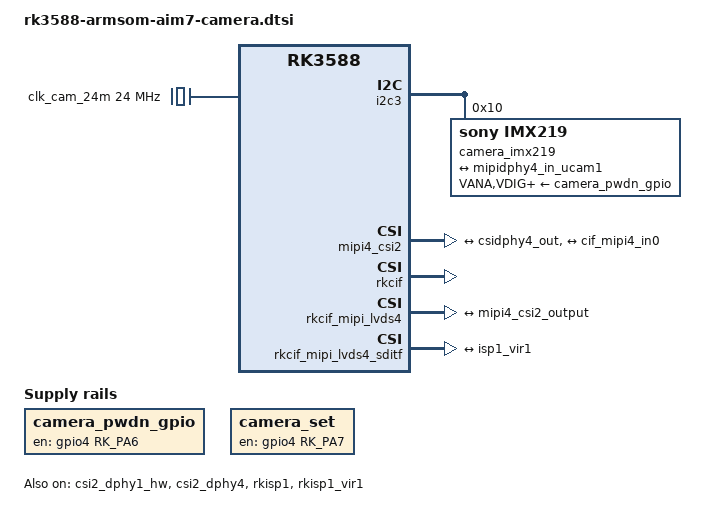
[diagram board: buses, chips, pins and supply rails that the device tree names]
// SPDX-License-Identifier: (GPL-2.0+ OR MIT)
/*
 * Copyright (c) 2022 Rockchip Electronics Co., Ltd.
 *
 */

// kernel/include/dt-bindings/clock/rk3588-cru.h
//  #define CLK_MIPI_CAMARAOUT_M0		255
// #define CLK_MIPI_CAMARAOUT_M1		256
// #define CLK_MIPI_CAMARAOUT_M2		257
// #define CLK_MIPI_CAMARAOUT_M3		258
// #define CLK_MIPI_CAMARAOUT_M4		259

/ {
	camera_pwdn_gpio: camera-pwdn-gpio {
		status = "okay";
		compatible = "regulator-fixed";
		regulator-name = "camera_pwdn_gpio";
		regulator-always-on;
		regulator-boot-on;
		enable-active-high;
		gpio = <&gpio4 RK_PA6 GPIO_ACTIVE_HIGH>;
		pinctrl-names = "default";
		pinctrl-0 = <&cam_pwdn_gpio>;
	};

    camera_set: camera-set {
		status = "okay";
		compatible = "regulator-fixed";
		regulator-name = "camera_set";
		regulator-always-on;
		regulator-boot-on;
		enable-active-high;
		gpio = <&gpio4 RK_PA7 GPIO_ACTIVE_HIGH>;
		pinctrl-names = "default";
		pinctrl-0 = <&cam_set>;
	};

	clk_cam_24m: external-camera-clock-24m {
		status = "okay";
		compatible = "fixed-clock";
		clock-frequency = <24000000>;
		clock-output-names = "clk_cam_24m";
		#clock-cells = <0>;
	};
};

&i2c3 {
	status = "okay";
	#address-cells = <1>;
    #size-cells = <0>;

	imx415: imx415@1a {
		status = "disabled";
		compatible = "sony,imx415";
		reg = <0x1a>;
		clocks = <&cru CLK_MIPI_CAMARAOUT_M3>;
		clock-names = "xvclk";
		pinctrl-names = "default";
		pinctrl-0 = <&mipim0_camera3_clk>;
		power-domains = <&power RK3588_PD_VI>;
		pwdn-gpios = <&gpio1 RK_PB0 GPIO_ACTIVE_HIGH>;
		reset-gpios = <&gpio4 RK_PA0 GPIO_ACTIVE_LOW>;
		rockchip,camera-module-index = <0>;
		rockchip,camera-module-facing = "back";
		rockchip,camera-module-name = "CMK-OT2022-PX1";
		rockchip,camera-module-lens-name = "IR0147-50IRC-8M-F20";
		port {
			imx415_out0: endpoint {
				remote-endpoint = <&mipidphy0_in_ucam0>;
				data-lanes = <1 2 3 4>;
			};
		};
	};

	camera_imx219: camera-imx219@10 {
		status = "okay";
		compatible = "sony,imx219";
		reg = <0x10>;
		clock-names = "xvclk";
		clocks = <&clk_cam_24m>;
        VANA-supply = <&camera_pwdn_gpio>;   /* 2.8v */
        VDIG-supply = <&camera_pwdn_gpio>;   /* 1.8v */
        VDDL-supply = <&camera_pwdn_gpio>;   /* 1.2v */

		rockchip,camera-module-index = <0>;
		rockchip,camera-module-facing = "back";
		rockchip,camera-module-name = "RADXA-CAMERA-8M";
		rockchip,camera-module-lens-name = "default";

		port {
			imx219_out0: endpoint {
				remote-endpoint = <&mipidphy4_in_ucam1>;
				data-lanes = <1 2>;
				clock-noncontinuous;
                link-frequencies = /bits/ 64 <456000000>;
			};
		};
	};
};

&csi2_dphy1_hw {
	status = "okay";
};

&csi2_dphy4 {
	status = "okay";

	ports {
		#address-cells = <1>;
		#size-cells = <0>;

		port@0 {
			reg = <0>;
			#address-cells = <1>;
			#size-cells = <0>;

			mipidphy0_in_ucam0: endpoint@1 {
				reg = <1>;
				remote-endpoint = <&imx415_out0>;
				data-lanes = <1 2 3 4>;
			};

			mipidphy4_in_ucam1: endpoint@2 {
				reg = <2>;
				remote-endpoint = <&imx219_out0>;
				data-lanes = <1 2>;
			};
		};

		port@1 {
			reg = <1>;
			#address-cells = <1>;
			#size-cells = <0>;

			csidphy4_out: endpoint@0 {
				reg = <0>;
				remote-endpoint = <&mipi4_csi2_input>;
			};
		};
	};
};

&mipi4_csi2 {
	status = "okay";

	ports {
		#address-cells = <1>;
		#size-cells = <0>;

		port@0 {
			reg = <0>;
			#address-cells = <1>;
			#size-cells = <0>;

			mipi4_csi2_input: endpoint@1 {
				reg = <1>;
				remote-endpoint = <&csidphy4_out>;
			};
		};

		port@1 {
			reg = <1>;
			#address-cells = <1>;
			#size-cells = <0>;

			mipi4_csi2_output: endpoint@0 {
				reg = <0>;
				remote-endpoint = <&cif_mipi4_in0>;
			};
		};
	};
};

&rkcif {
	status = "okay";
};

&rkcif_mipi_lvds4 {
	status = "okay";

	port {
		cif_mipi4_in0: endpoint {
			remote-endpoint = <&mipi4_csi2_output>;
		};
	};
};

&rkcif_mipi_lvds4_sditf {
	status = "okay";

	port {
		mipi_lvds4_sditf: endpoint {
			remote-endpoint = <&isp1_vir1>;
		};
	};
};

&rkcif_mmu {
	status = "okay";
};

&rkisp1 {
	status = "okay";
};

&isp1_mmu {
	status = "okay";
};

&rkisp1_vir1 {
	status = "okay";

	port {
		#address-cells = <1>;
		#size-cells = <0>;

		isp1_vir1: endpoint@0 {
			reg = <0>;
			remote-endpoint = <&mipi_lvds4_sditf>;
		};
	};
};

&pinctrl {
	camera {
		cam_pwdn_gpio: cam-pwdn-gpio {
			rockchip,pins = <4 RK_PA6 RK_FUNC_GPIO &pcfg_pull_up>;
		};
        cam_set: cam-set {
			rockchip,pins = <4 RK_PA7 RK_FUNC_GPIO &pcfg_pull_up>;
		};
	};
};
